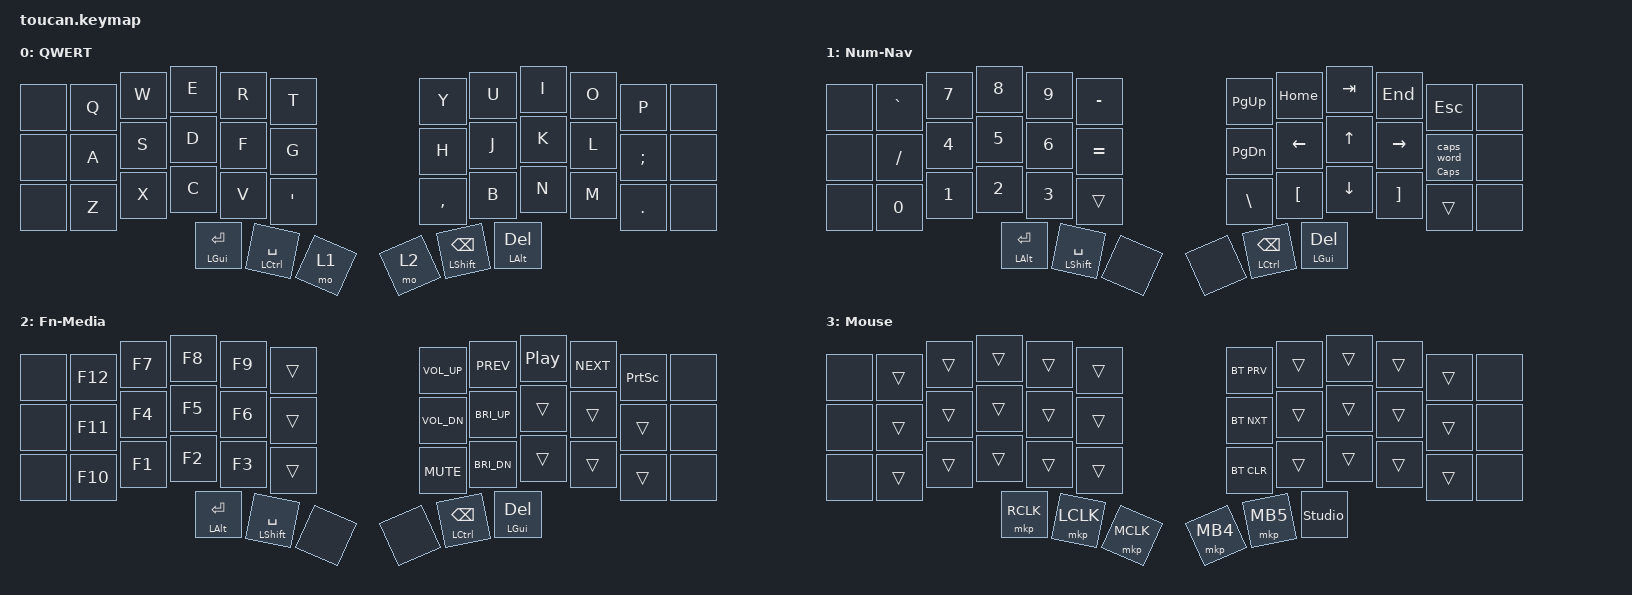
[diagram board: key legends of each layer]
#include <behaviors.dtsi>
#include <dt-bindings/zmk/keys.h>
#include <dt-bindings/zmk/bt.h>
#include <dt-bindings/zmk/outputs.h>
#include <dt-bindings/zmk/pointing.h>

#define BASE 0
#define NUMNAV 1
#define FNMEDIA 2
#define MOUSE 3

&mt {
    quick-tap-ms = <200>;
    tapping-term-ms = <200>;
    flavor = "balanced";
};

/ {
    behaviors {
        capsword_capslock: capsword_capslock {
            compatible = "zmk,behavior-hold-tap";
            #binding-cells = <2>;

            tapping-term-ms = <200>;
            flavor = "tap-preferred";

            bindings = <&kp &caps_word>;
        };
    };

    keymap {
        compatible = "zmk,keymap";

        base {
            display-name = "QWERT";
            bindings = <
                &none &kp Q &kp W &kp E &kp R &kp T                  &kp Y     &kp U &kp I  &kp O  &kp P &none
                &none &kp A &kp S &kp D &kp F &kp G                  &kp H     &kp J &kp K  &kp L  &kp SEMI &none
                &none &kp Z &kp X &kp C &kp V &kp SINGLE_QUOTE       &kp COMMA &kp B &kp N  &kp M  &kp DOT &none
            &mt LGUI RETURN  &mt LCTRL SPACE  &mo 1                  &mo 2  &mt LSHFT BSPC  &mt LALT DEL
            >;
        };

        numnav {
            display-name = "Num-Nav";
            bindings = <
                &none &kp GRAVE &kp N7 &kp N8 &kp N9 &kp MINUS        &kp PG_UP &kp HOME &kp TAB  &kp END   &kp ESCAPE &none
                &none &kp SLASH &kp N4 &kp N5 &kp N6 &kp EQUAL        &kp PG_DN &kp LEFT &kp UP   &kp RIGHT &capsword_capslock CAPS 0 &none
                &none &kp N0    &kp N1 &kp N2 &kp N3 &trans           &kp BSLH  &kp LBKT &kp DOWN &kp RBKT  &trans &none
                     &mt LALT RETURN &mt LSHFT SPACE &none            &none &mt LCTRL BSPC &mt LGUI DEL
            >;
        };

        fnmedia {
            display-name = "Fn-Media";
            bindings = <
                &none &kp F12 &kp F7 &kp F8 &kp F9 &trans          &kp C_VOL_UP &kp C_PREV   &kp C_PLAY_PAUSE &kp C_NEXT &kp PRINTSCREEN &none
                &none &kp F11 &kp F4 &kp F5 &kp F6 &trans          &kp C_VOL_DN &kp C_BRI_UP &trans           &trans     &trans &none
                &none &kp F10 &kp F1 &kp F2 &kp F3 &trans          &kp C_MUTE   &kp C_BRI_DN &trans           &trans     &trans &none
                     &mt LALT RETURN &mt LSHFT SPACE &none         &none &mt LCTRL BSPC &mt LGUI DEL
            >;
        };

        mouse {
            display-name = "Mouse";
            bindings = <
                &none &trans &trans &trans &trans &trans           &bt BT_PRV &trans &trans &trans &trans &none
                &none &trans &trans &trans &trans &trans           &bt BT_NXT &trans &trans &trans &trans &none
                &none &trans &trans &trans &trans &trans           &bt BT_CLR &trans &trans &trans &trans &none
                     &mkp RCLK &mkp LCLK &mkp MCLK           &mkp MB4 &mkp MB5 &studio_unlock
            >;
        };

        extra_1 {
                status = "reserved";
        };

        extra_2 {
                status = "reserved";
        };

        extra_3 {
                status = "reserved";
        };
    };
};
